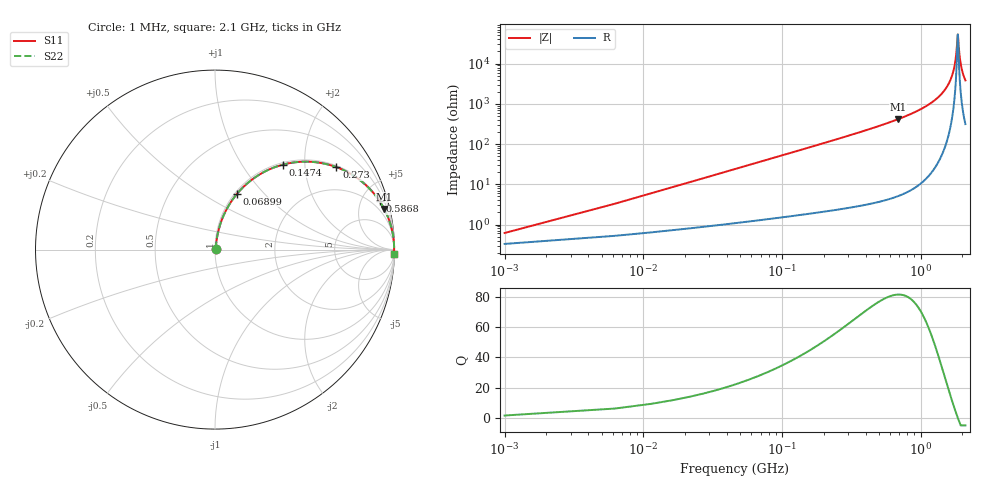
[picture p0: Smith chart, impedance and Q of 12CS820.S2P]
! Coilcraft 1206CS-820 Chip Inductor
! 29 July 2002
# MHZ S MA R 50
!Freq  MagS11  AngS11  MagS21  AngS21  MagS12  AngS12  MagS22  AngS22
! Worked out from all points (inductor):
!   403 points, 1 MHz to 2.1 GHz, reference 50 ohm
!   read as one part in series: L = 83 nH near 11.46 MHz
!   highest Q = 81.6 at 686.1 MHz (marker M1), where L = 96.2 nH
!   self-resonance near 1.847 GHz
!   S11 on the Smith chart (normalised r, x): 1 MHz: 1.01, +0.01; 68.99 MHz: 1.03, +0.72; 147.4 MHz: 1.04, +1.55; 273 MHz: 1.05, +2.91; 586.8 MHz: 1.08, +6.80; 2.1 GHz: 7, -76
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1  0.006151 57.4  0.9967 -0.3  0.9967 -0.3  0.006151 57.4
16.69  0.0864 80.3  0.9891 -4.9  0.9891 -4.9  0.0864 80.3
21.92  0.113 79.5  0.9857 -6.5  0.9857 -6.5  0.113 79.5
42.84  0.2162 74.8  0.9662 -12.5  0.9662 -12.5  0.2162 74.8
68.99  0.3354 68.4  0.9302 -19.6  0.9302 -19.6  0.3354 68.4
147.44  0.6053 51.4  0.782 -37.2  0.782 -37.2  0.6053 51.4
272.96  0.8178 34.2  0.5619 -54.9  0.5619 -54.9  0.8178 34.2
351.41  0.8797 27.6  0.4627 -61.6  0.4627 -61.6  0.8797 27.6
586.76  0.9562 16.3  0.2811 -73.0  0.2811 -73.0  0.9562 16.3
686.13  0.9694 13.5  0.2337 -75.8  0.2337 -75.8  0.9694 13.5
701.82  0.9711 13.1  0.2272 -76.2  0.2272 -76.2  0.9711 13.1
1052.23  0.9907 7.0  0.1222 -82.1  0.1222 -82.1  0.9907 7.0
1402.64  0.9967 3.3  0.0581 -85.0  0.0581 -85.0  0.9967 3.3
1622.3  0.9979 1.6  0.02748 -84.8  0.02748 -84.8  0.9979 1.6
1753.05  0.9981 0.6  0.01148 -80.3  0.01148 -80.3  0.9981 0.6
1800.12  0.9981 0.3  0.006141 -72.2  0.006141 -72.2  0.9981 0.3
1841.96  0.9981 0.1  0.002178 -30.6  0.002178 -30.6  0.9981 0.1
1852.42  0.9981 -0.0  0.001884 1.8  0.001884 1.8  0.9981 -0.0
1904.72  0.9981 -0.3  0.006127 71.3  0.006127 71.3  0.9981 -0.3
1946.56  0.998 -0.6  0.01049 78.6  0.01049 78.6  0.998 -0.6
2014.55  0.9978 -1.0  0.01753 82.3  0.01753 82.3  0.9978 -1.0
2100  0.9975 -1.5  0.02612 83.8  0.02612 83.8  0.9975 -1.5
